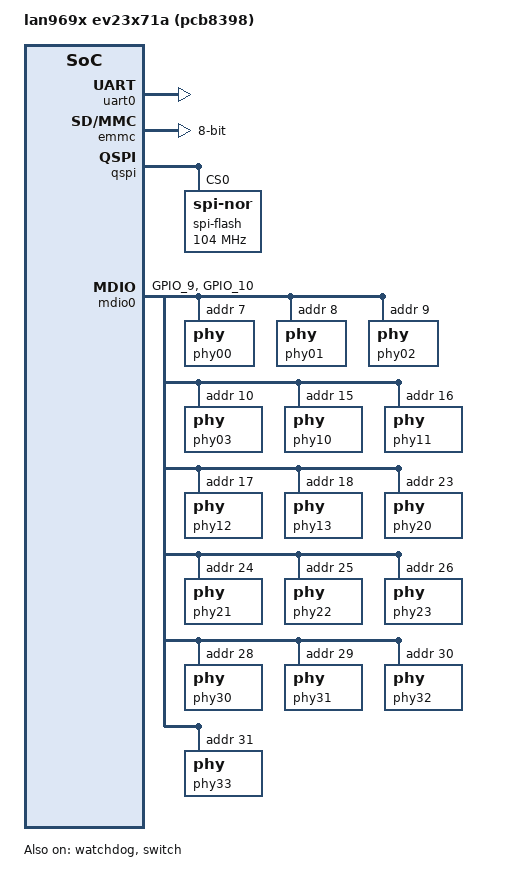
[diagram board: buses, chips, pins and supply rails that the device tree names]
/dts-v1/;

#include "lan969x_a0.dtsi"
#include "lan969x.dtsi"

#include <dt-bindings/mscc/sparx5_data.h>

/ {
  model = "lan969x ev23x71a (pcb8398)";
};

&uart0 {
  status = "okay";
  pinctrl-0 = <&fc0_pins>;
  pinctrl-names = "default";
};

&emmc {
  status = "okay";
  pinctrl-0 = <&emmc_sd_pins>;
  pinctrl-names = "default";
  bus-width = <8>;
};

&qspi {
  status = "okay";
  spi-flash@0 {
    status = "okay";
    compatible = "jedec,spi-nor";
    reg = <0>;
    spi-max-frequency = <104000000>;
    u-boot,dm-pre-reloc;
    m25p,fast-read;
    spi-tx-bus-width = <1>;
    spi-rx-bus-width = <4>;
  };
};

&gpio {
  mdio_pins: mdio-pins {
    pins = "GPIO_9", "GPIO_10";
    function = "miim";
  };
};

&watchdog {
	status = "okay";
};

&mdio0 {
  pinctrl-0 = <&mdio_pins>;
  pinctrl-names = "default";
  status = "okay";

  phy00: phy@0 {
    reg = <7>;
  };

  phy01: phy@1 {
    reg = <8>;
  };

  phy02: phy@2 {
    reg = <9>;
  };

  phy03: phy@3 {
    reg = <10>;
  };

  phy10: phy@4 {
    reg = <15>;
  };

  phy11: phy@5 {
    reg = <16>;
  };

  phy12: phy@6 {
    reg = <17>;
  };

  phy13: phy@7 {
    reg = <18>;
  };

  phy20: phy@8 {
    reg = <23>;
  };

  phy21: phy@9 {
    reg = <24>;
  };

  phy22: phy@10 {
    reg = <25>;
  };

  phy23: phy@11 {
    reg = <26>;
  };

  phy30: phy@12 {
    reg = <28>;
  };

  phy31: phy@13 {
    reg = <29>;
  };

  phy32: phy@14 {
    reg = <30>;
  };

  phy33: phy@15 {
    reg = <31>;
  };
};

&switch {
  status = "okay";
  ethernet-ports {
    port0: port@0 {
      reg = <0>;
      phy-handle = <&phy00>;
      phys = <IF_QSGMII 10 1>;
    };

    port1: port@1 {
      reg = <1>;
      phy-handle = <&phy01>;
      phys = <IF_QSGMII 10 1>;
    };

    port2: port@2 {
      reg = <2>;
      phy-handle = <&phy02>;
      phys = <IF_QSGMII 10 1>;
    };

    port3: port@3 {
      reg = <3>;
      phy-handle = <&phy03>;
      phys = <IF_QSGMII 10 1>;
    };

    port4: port@4 {
      reg = <4>;
      phy-handle = <&phy10>;
      phys = <IF_QSGMII 10 0>;
    };

    port5: port@5 {
      reg = <5>;
      phy-handle = <&phy11>;
      phys = <IF_QSGMII 10 0>;
    };

    port6: port@6 {
      reg = <6>;
      phy-handle = <&phy12>;
      phys = <IF_QSGMII 10 0>;
    };

    port7: port@7 {
      reg = <7>;
      phy-handle = <&phy13>;
      phys = <IF_QSGMII 10 0>;
    };

    port8: port@8 {
      reg = <8>;
      phy-handle = <&phy20>;
      phys = <IF_QSGMII 10 3>;
    };

    port9: port@9 {
      reg = <9>;
      phy-handle = <&phy21>;
      phys = <IF_QSGMII 10 3>;
    };

    port10: port@10 {
      reg = <10>;
      phy-handle = <&phy22>;
      phys = <IF_QSGMII 10 3>;
    };

    port11: port@11 {
      reg = <11>;
      phy-handle = <&phy23>;
      phys = <IF_QSGMII 10 3>;
    };

    port12: port@12 {
      reg = <12>;
      phy-handle = <&phy30>;
      phys = <IF_QSGMII 10 2>;
    };

    port13: port@13 {
      reg = <13>;
      phy-handle = <&phy31>;
      phys = <IF_QSGMII 10 2>;
    };

    port14: port@14 {
      reg = <14>;
      phy-handle = <&phy32>;
      phys = <IF_QSGMII 10 2>;
    };

    port15: port@15 {
      reg = <15>;
      phy-handle = <&phy33>;
      phys = <IF_QSGMII 10 2>;
    };
  };
};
